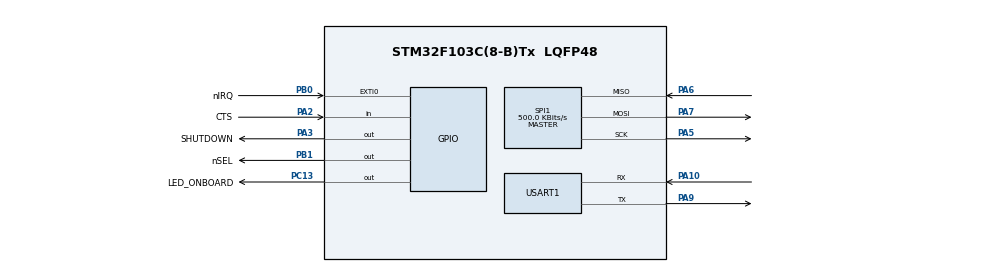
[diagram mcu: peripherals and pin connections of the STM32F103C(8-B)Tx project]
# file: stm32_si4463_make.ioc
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Mcu.Family=STM32F1
Mcu.Name=STM32F103C(8-B)Tx
Mcu.Package=LQFP48
NVIC.EXTI0_IRQn=true\:0\:0\:false\:true\:true\:1
NVIC.PriorityGroup=NVIC_PRIORITYGROUP_4
NVIC.USART1_IRQn=true\:0\:0\:false\:true\:true\:2
PA10.Mode=Asynchronous
PA10.Signal=USART1_RX
PA13.Mode=Serial_Wire
PA13.Signal=SYS_JTMS-SWDIO
PA14.Mode=Serial_Wire
PA14.Signal=SYS_JTCK-SWCLK
PA2.GPIO_Label=CTS
PA2.Signal=GPIO_Input
PA3.GPIO_Label=SHUTDOWN
PA3.Signal=GPIO_Output
PA5.Mode=Full_Duplex_Master
PA5.Signal=SPI1_SCK
PA6.Mode=Full_Duplex_Master
PA6.Signal=SPI1_MISO
PA7.Mode=Full_Duplex_Master
PA7.Signal=SPI1_MOSI
PA9.Mode=Asynchronous
PA9.Signal=USART1_TX
PB0.GPIO_Label=nIRQ
PB0.Signal=GPXTI0
PB1.GPIO_Label=nSEL
PB1.Signal=GPIO_Output
PC13-TAMPER-RTC.GPIO_Label=LED_ONBOARD
PC13-TAMPER-RTC.Signal=GPIO_Output
PC14-OSC32_IN.Mode=LSE-External-Oscillator
PC14-OSC32_IN.Signal=RCC_OSC32_IN
PC15-OSC32_OUT.Mode=LSE-External-Oscillator
PC15-OSC32_OUT.Signal=RCC_OSC32_OUT
PD0-OSC_IN.Mode=HSE-External-Oscillator
PD0-OSC_IN.Signal=RCC_OSC_IN
PD1-OSC_OUT.Mode=HSE-External-Oscillator
PD1-OSC_OUT.Signal=RCC_OSC_OUT
ProjectManager.HeapSize=0x200
ProjectManager.StackSize=0x400
ProjectManager.TargetToolchain=Makefile
RCC.APB1Freq_Value=8000000
RCC.APB2Freq_Value=8000000
SPI1.BaudRatePrescaler=SPI_BAUDRATEPRESCALER_16
SPI1.CalculateBaudRate=500.0 KBits/s
SPI1.Direction=SPI_DIRECTION_2LINES
SPI1.Mode=SPI_MODE_MASTER
SPI1.VirtualType=VM_MASTER
USART1.VirtualMode=VM_ASYNC
board=stm32_si4463_make

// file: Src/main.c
/**
  ******************************************************************************
  * File Name          : main.c
  * Description        : Main program body
  ******************************************************************************
  ** This notice applies to any and all portions of this file
  * that are not between comment pairs USER CODE BEGIN and
  * USER CODE END. Other portions of this file, whether
  * inserted by the user or by software development tools
  * are owned by their respective copyright owners.
  *
  * COPYRIGHT(c) 2017 STMicroelectronics
  *
  * Redistribution and use in source and binary forms, with or without modification,
  * are permitted provided that the following conditions are met:
  *   1. Redistributions of source code must retain the above copyright notice,
  *      this list of conditions and the following disclaimer.
  *   2. Redistributions in binary form must reproduce the above copyright notice,
  *      this list of conditions and the following disclaimer in the documentation
  *      and/or other materials provided with the distribution.
  *   3. Neither the name of STMicroelectronics nor the names of its contributors
  *      may be used to endorse or promote products derived from this software
  *      without specific prior written permission.
  *
  * THIS SOFTWARE IS PROVIDED BY THE COPYRIGHT HOLDERS AND CONTRIBUTORS "AS IS"
  * AND ANY EXPRESS OR IMPLIED WARRANTIES, INCLUDING, BUT NOT LIMITED TO, THE
  * IMPLIED WARRANTIES OF MERCHANTABILITY AND FITNESS FOR A PARTICULAR PURPOSE ARE
  * DISCLAIMED. IN NO EVENT SHALL THE COPYRIGHT HOLDER OR CONTRIBUTORS BE LIABLE
  * FOR ANY DIRECT, INDIRECT, INCIDENTAL, SPECIAL, EXEMPLARY, OR CONSEQUENTIAL
  * DAMAGES (INCLUDING, BUT NOT LIMITED TO, PROCUREMENT OF SUBSTITUTE GOODS OR
  * SERVICES; LOSS OF USE, DATA, OR PROFITS; OR BUSINESS INTERRUPTION) HOWEVER
  * CAUSED AND ON ANY THEORY OF LIABILITY, WHETHER IN CONTRACT, STRICT LIABILITY,
  * OR TORT (INCLUDING NEGLIGENCE OR OTHERWISE) ARISING IN ANY WAY OUT OF THE USE
  * OF THIS SOFTWARE, EVEN IF ADVISED OF THE POSSIBILITY OF SUCH DAMAGE.
  *
  ******************************************************************************
  */
#include "main.h"
#include "stm32f1xx_hal.h"

/* USER CODE BEGIN Includes */
#include "si4463.h"
#include <stdlib.h>

/* USER CODE END Includes */

SPI_HandleTypeDef hspi1;

UART_HandleTypeDef huart1;

/* USER CODE BEGIN PV */
/* Private variables ---------------------------------------------------------*/
si4463_t si4463;
uint8_t incomingBuffer[RADIO_CONFIGURATION_DATA_RADIO_PACKET_LENGTH];
uint8_t outgoingBuffer[RADIO_CONFIGURATION_DATA_RADIO_PACKET_LENGTH];

/* USER CODE END PV */

void SystemClock_Config(void);
static void MX_GPIO_Init(void);
static void MX_SPI1_Init(void);
static void MX_USART1_UART_Init(void);
static void MX_NVIC_Init(void);

/* USER CODE BEGIN PFP */
/* Private function prototypes -----------------------------------------------*/
bool SI4463_IsCTS(void);
void SI4463_WriteRead(uint8_t * pTxData, uint8_t * pRxData, uint16_t sizeTxData);
void SI4463_SetShutdown(void);
void SI4463_ClearShutdown(void);
void SI4463_Select(void);
void SI4463_Deselect(void);

/* USER CODE END PFP */

int main(void)
{

  /* MCU Configuration----------------------------------------------------------*/

  /* Reset of all peripherals, Initializes the Flash interface and the Systick. */
  HAL_Init();

  /* Configure the system clock */
  SystemClock_Config();

  /* Initialize all configured peripherals */
  MX_GPIO_Init();
  MX_SPI1_Init();
  MX_USART1_UART_Init();

  /* Initialize interrupts */
  MX_NVIC_Init();

  /* USER CODE BEGIN 2 */

#ifdef DEMOFEST
  /* Debug message on uart */
  HAL_UART_Transmit(&huart1, "START\n", 6, 10);
#endif

  /* Assign functions */
  si4463.IsCTS = SI4463_IsCTS;
  si4463.WriteRead = SI4463_WriteRead;
  si4463.Select = SI4463_Select;
  si4463.Deselect = SI4463_Deselect;
  si4463.SetShutdown = SI4463_SetShutdown;
  si4463.ClearShutdown = SI4463_ClearShutdown;
  si4463.DelayMs = HAL_Delay;

  /* Disable interrupt pin for init Si4463 */
  HAL_NVIC_DisableIRQ(EXTI0_IRQn);

  /* Init Si4463 with structure */
  SI4463_Init(&si4463);

  /* Clear RX FIFO before starting RX packets */
  SI4463_ClearRxFifo(&si4463);
  /* Start RX mode.
   * SI4463_StartRx() put a chip in non-armed mode in cases:
   * - successfully receive a packet;
   * - invoked RX_TIMEOUT;
   * - invalid receive.
   * For receiveing next packet you have to invoke SI4463_StartRx() again!*/
  SI4463_StartRx(&si4463, false, false, false);

#ifdef DEMOFEST
  /* Debug message on UART */
  HAL_UART_Transmit(&huart1, "INIT\n", 5, 10);
#endif

  /* Enable interrupt pin and */
  HAL_NVIC_EnableIRQ(EXTI0_IRQn);
  /* Clear interrupts after enabling interrupt pin.
   * Without it may be situation when interrupt is asserted but pin not cleared.*/
  SI4463_ClearInterrupts(&si4463);

  /* USER CODE END 2 */

  /* Infinite loop */
  while (1)
  {

  /* USER CODE BEGIN 3 */
	  /* Send test packet */
	  outgoingBuffer[0] = rand() & 0xFF;
	  outgoingBuffer[1] = rand() & 0xFF;
	  outgoingBuffer[2] = rand() & 0xFF;
	  outgoingBuffer[3] = rand() & 0xFF;
	  outgoingBuffer[4] = rand() & 0xFF;
	  outgoingBuffer[5] = rand() & 0xFF;
	  outgoingBuffer[6] = rand() & 0xFF;
	  SI4463_Transmit(&si4463, outgoingBuffer, RADIO_CONFIGURATION_DATA_RADIO_PACKET_LENGTH);

	  uint32_t newDelay = 500 + ((rand() & 0xF) * 100);
	  HAL_Delay(newDelay);
	  /* End of send of test packet */
  }
  /* USER CODE END 3 */

}

/** System Clock Configuration
*/
void SystemClock_Config(void)
{

  RCC_OscInitTypeDef RCC_OscInitStruct;
  RCC_ClkInitTypeDef RCC_ClkInitStruct;

    /**Initializes the CPU, AHB and APB busses clocks
    */
  RCC_OscInitStruct.OscillatorType = RCC_OSCILLATORTYPE_HSI;
  RCC_OscInitStruct.HSIState = RCC_HSI_ON;
  RCC_OscInitStruct.HSICalibrationValue = 16;
  RCC_OscInitStruct.PLL.PLLState = RCC_PLL_NONE;
  if (HAL_RCC_OscConfig(&RCC_OscInitStruct) != HAL_OK)
  {
    _Error_Handler(__FILE__, __LINE__);
  }

    /**Initializes the CPU, AHB and APB busses clocks
    */
  RCC_ClkInitStruct.ClockType = RCC_CLOCKTYPE_HCLK|RCC_CLOCKTYPE_SYSCLK
                              |RCC_CLOCKTYPE_PCLK1|RCC_CLOCKTYPE_PCLK2;
  RCC_ClkInitStruct.SYSCLKSource = RCC_SYSCLKSOURCE_HSI;
  RCC_ClkInitStruct.AHBCLKDivider = RCC_SYSCLK_DIV1;
  RCC_ClkInitStruct.APB1CLKDivider = RCC_HCLK_DIV1;
  RCC_ClkInitStruct.APB2CLKDivider = RCC_HCLK_DIV1;

  if (HAL_RCC_ClockConfig(&RCC_ClkInitStruct, FLASH_LATENCY_0) != HAL_OK)
  {
    _Error_Handler(__FILE__, __LINE__);
  }

    /**Configure the Systick interrupt time
    */
  HAL_SYSTICK_Config(HAL_RCC_GetHCLKFreq()/1000);

    /**Configure the Systick
    */
  HAL_SYSTICK_CLKSourceConfig(SYSTICK_CLKSOURCE_HCLK);

  /* SysTick_IRQn interrupt configuration */
  HAL_NVIC_SetPriority(SysTick_IRQn, 0, 0);
}

/** NVIC Configuration
*/
static void MX_NVIC_Init(void)
{
  /* EXTI0_IRQn interrupt configuration */
  HAL_NVIC_SetPriority(EXTI0_IRQn, 0, 0);
  HAL_NVIC_EnableIRQ(EXTI0_IRQn);
  /* USART1_IRQn interrupt configuration */
  HAL_NVIC_SetPriority(USART1_IRQn, 0, 0);
  HAL_NVIC_EnableIRQ(USART1_IRQn);
}

/* SPI1 init function */
static void MX_SPI1_Init(void)
{

  hspi1.Instance = SPI1;
  hspi1.Init.Mode = SPI_MODE_MASTER;
  hspi1.Init.Direction = SPI_DIRECTION_2LINES;
  hspi1.Init.DataSize = SPI_DATASIZE_8BIT;
  hspi1.Init.CLKPolarity = SPI_POLARITY_LOW;
  hspi1.Init.CLKPhase = SPI_PHASE_1EDGE;
  hspi1.Init.NSS = SPI_NSS_SOFT;
  hspi1.Init.BaudRatePrescaler = SPI_BAUDRATEPRESCALER_16;
  hspi1.Init.FirstBit = SPI_FIRSTBIT_MSB;
  hspi1.Init.TIMode = SPI_TIMODE_DISABLE;
  hspi1.Init.CRCCalculation = SPI_CRCCALCULATION_DISABLE;
  hspi1.Init.CRCPolynomial = 10;
  if (HAL_SPI_Init(&hspi1) != HAL_OK)
  {
    _Error_Handler(__FILE__, __LINE__);
  }

}

/* USART1 init function */
static void MX_USART1_UART_Init(void)
{

  huart1.Instance = USART1;
  huart1.Init.BaudRate = 115200;
  huart1.Init.WordLength = UART_WORDLENGTH_8B;
  huart1.Init.StopBits = UART_STOPBITS_1;
  huart1.Init.Parity = UART_PARITY_NONE;
  huart1.Init.Mode = UART_MODE_TX_RX;
  huart1.Init.HwFlowCtl = UART_HWCONTROL_NONE;
  huart1.Init.OverSampling = UART_OVERSAMPLING_16;
  if (HAL_UART_Init(&huart1) != HAL_OK)
  {
    _Error_Handler(__FILE__, __LINE__);
  }

}

/** Configure pins as
        * Analog
        * Input
        * Output
        * EVENT_OUT
        * EXTI
*/
static void MX_GPIO_Init(void)
{

  GPIO_InitTypeDef GPIO_InitStruct;

  /* GPIO Ports Clock Enable */
  __HAL_RCC_GPIOC_CLK_ENABLE();
  __HAL_RCC_GPIOD_CLK_ENABLE();
  __HAL_RCC_GPIOA_CLK_ENABLE();
  __HAL_RCC_GPIOB_CLK_ENABLE();

  /*Configure GPIO pin Output Level */
  HAL_GPIO_WritePin(LED_ONBOARD_GPIO_Port, LED_ONBOARD_Pin, GPIO_PIN_RESET);

  /*Configure GPIO pin Output Level */
  HAL_GPIO_WritePin(SHUTDOWN_GPIO_Port, SHUTDOWN_Pin, GPIO_PIN_RESET);

  /*Configure GPIO pin Output Level */
  HAL_GPIO_WritePin(nSEL_GPIO_Port, nSEL_Pin, GPIO_PIN_RESET);

  /*Configure GPIO pin : LED_ONBOARD_Pin */
  GPIO_InitStruct.Pin = LED_ONBOARD_Pin;
  GPIO_InitStruct.Mode = GPIO_MODE_OUTPUT_PP;
  GPIO_InitStruct.Speed = GPIO_SPEED_FREQ_LOW;
  HAL_GPIO_Init(LED_ONBOARD_GPIO_Port, &GPIO_InitStruct);

  /*Configure GPIO pin : CTS_Pin */
  GPIO_InitStruct.Pin = CTS_Pin;
  GPIO_InitStruct.Mode = GPIO_MODE_INPUT;
  GPIO_InitStruct.Pull = GPIO_NOPULL;
  HAL_GPIO_Init(CTS_GPIO_Port, &GPIO_InitStruct);

  /*Configure GPIO pin : SHUTDOWN_Pin */
  GPIO_InitStruct.Pin = SHUTDOWN_Pin;
  GPIO_InitStruct.Mode = GPIO_MODE_OUTPUT_PP;
  GPIO_InitStruct.Speed = GPIO_SPEED_FREQ_LOW;
  HAL_GPIO_Init(SHUTDOWN_GPIO_Port, &GPIO_InitStruct);

  /*Configure GPIO pin : nIRQ_Pin */
  GPIO_InitStruct.Pin = nIRQ_Pin;
  GPIO_InitStruct.Mode = GPIO_MODE_IT_FALLING;
  GPIO_InitStruct.Pull = GPIO_NOPULL;
  HAL_GPIO_Init(nIRQ_GPIO_Port, &GPIO_InitStruct);

  /*Configure GPIO pin : nSEL_Pin */
  GPIO_InitStruct.Pin = nSEL_Pin;
  GPIO_InitStruct.Mode = GPIO_MODE_OUTPUT_PP;
  GPIO_InitStruct.Speed = GPIO_SPEED_FREQ_LOW;
  HAL_GPIO_Init(nSEL_GPIO_Port, &GPIO_InitStruct);

}

/* USER CODE BEGIN 4 */

void HAL_GPIO_EXTI_Callback(uint16_t GPIO_Pin)
{
  /* Prevent unused argument(s) compilation warning */
  UNUSED(GPIO_Pin);

  /* Clear incoming buffer */
  memset(incomingBuffer, 0x00, RADIO_CONFIGURATION_DATA_RADIO_PACKET_LENGTH);

  /* Get interrupts and work with it */
  SI4463_GetInterrupts(&si4463);

  /* Handling PH interrupts */
  if (si4463.interrupts.filterMatch)
  {
	  /* Handling this interrupt here */
	  /* Following instruction only for add breakpoints. May be deleted */
	  si4463.interrupts.filterMatch = false;
  }
  if (si4463.interrupts.filterMiss)
  {
	  /* Handling this interrupt here */
	  /* Following instruction only for add breakpoints. May be deleted */
	  si4463.interrupts.filterMiss = false;
  }
  if (si4463.interrupts.packetSent)
  {
	  /* Handling this interrupt here */
	  /* Clear TX FIFO */
	  SI4463_ClearTxFifo(&si4463);
#ifdef DEMOFEST
	  HAL_UART_Transmit(&huart1, "OUT >", 5, 10);
	  HAL_UART_Transmit(&huart1, outgoingBuffer, RADIO_CONFIGURATION_DATA_RADIO_PACKET_LENGTH, 10);
	  HAL_UART_Transmit(&huart1, "\n", 1, 10);
#endif /* DEMOFEST */
	  /* Re-arm StartRX */
	  SI4463_StartRx(&si4463, false, false, false);

	  /*Toggle led for indication*/
	  HAL_GPIO_TogglePin(LED_ONBOARD_GPIO_Port, LED_ONBOARD_Pin);
	  /* Following instruction only for add breakpoints. May be deleted */
	  si4463.interrupts.packetSent = false;
  }
  if (si4463.interrupts.packetRx)
  {
	  /* Handling this interrupt here */
	  /* Get FIFO data */
	  SI4463_ReadRxFifo(&si4463, incomingBuffer, RADIO_CONFIGURATION_DATA_RADIO_PACKET_LENGTH);
	  /* Clear RX FIFO */
	  SI4463_ClearRxFifo(&si4463);
#ifdef DEMOFEST
	  HAL_UART_Transmit(&huart1, "IN >", 4, 10);
	  HAL_UART_Transmit(&huart1, incomingBuffer, RADIO_CONFIGURATION_DATA_RADIO_PACKET_LENGTH, 10);
	  HAL_UART_Transmit(&huart1, "\n", 1, 10);
#endif /* DEMOFEST */

	  /* Start RX again.
	   * It need because after successful receive a packet the chip change
	   * state to READY.
	   * There is re-armed mode for StartRx but it not correctly working */
	  SI4463_StartRx(&si4463, false, false, false);

	  /*Toggle led for indication*/
	  HAL_GPIO_TogglePin(LED_ONBOARD_GPIO_Port, LED_ONBOARD_Pin);

	  /* Following instruction only for add breakpoints. May be deleted */
	  si4463.interrupts.packetRx = false;
  }
  if (si4463.interrupts.crcError)
  {
	  /* Handling this interrupt here */

	  /* Following instruction only for add breakpoints. May be deleted */
	  si4463.interrupts.crcError = false;
  }
  if (si4463.interrupts.txFifoAlmostEmpty)
  {
	  /* Handling this interrupt here */

	  /* Following instruction only for add breakpoints. May be deleted */
	  si4463.interrupts.txFifoAlmostEmpty = false;
  }
  if (si4463.interrupts.rxFifoAlmostFull)
  {
	  /* Handling this interrupt here */

	  /* Following instruction only for add breakpoints. May be deleted */
	  si4463.interrupts.rxFifoAlmostFull = false;
  }

  /* Handling Modem interrupts */
  if (si4463.interrupts.postambleDetect)
  {
	  /* Handling this interrupt here */
	  /* Following instruction only for add breakpoints. May be deleted */
	  si4463.interrupts.postambleDetect = false;
  }
  if (si4463.interrupts.invalidSync)
  {
	  /* Handling this interrupt here */
	  /* Following instruction only for add breakpoints. May be deleted */
	  si4463.interrupts.invalidSync = false;
  }
  if (si4463.interrupts.rssiJump)
  {
	  /* Handling this interrupt here */
	  /* Following instruction only for add breakpoints. May be deleted */
	  si4463.interrupts.rssiJump = false;
  }
  if (si4463.interrupts.rssi)
  {
	  /* Handling this interrupt here */
	  /* Following instruction only for add breakpoints. May be deleted */
	  si4463.interrupts.rssi = false;
  }
  if (si4463.interrupts.invalidPreamble)
  {
	  /* Handling this interrupt here */
	  /* Following instruction only for add breakpoints. May be deleted */
	  si4463.interrupts.invalidPreamble = false;
  }
  if (si4463.interrupts.preambleDetect)
  {
	  /* Handling this interrupt here */
	  /* Following instruction only for add breakpoints. May be deleted */
	  si4463.interrupts.preambleDetect = false;
  }
  if (si4463.interrupts.syncDetect)
  {
	  /* Handling this interrupt here */
	  /* Following instruction only for add breakpoints. May be deleted */
	  si4463.interrupts.syncDetect = false;
  }

  /* Handling Chip interrupts */
  if (si4463.interrupts.cal)
  {
	  /* Handling this interrupt here */
	  SI4463_GetChipStatus(&si4463);
	  /* Following instruction only for add breakpoints. May be deleted */
	  si4463.interrupts.cal = false;
  }
  if (si4463.interrupts.fifoUnderflowOverflowError)
  {
	  /* Handling this interrupt here */
	  /* Clear RX FIFO */
	  SI4463_ClearRxFifo(&si4463);
	  /* Claer Chip Status errors if exists */
	  SI4463_GetChipStatus(&si4463);
	  /* Following instruction only for add breakpoints. May be deleted */
	  si4463.interrupts.fifoUnderflowOverflowError = false;
  }
  if (si4463.interrupts.stateChange)
  {
	  /* Handling this interrupt here */
	  SI4463_GetChipStatus(&si4463);
	  /* Following instruction only for add breakpoints. May be deleted */
	  si4463.interrupts.stateChange = false;
  }
  if (si4463.interrupts.cmdError)
  {
	  /* Handling this interrupt here */
	  SI4463_GetChipStatus(&si4463);
	  /* Following instruction only for add breakpoints. May be deleted */
	  si4463.interrupts.stateChange = false;
  }
  if (si4463.interrupts.chipReady)
  {
	  /* Handling this interrupt here */
	  SI4463_GetChipStatus(&si4463);
	  /* Following instruction only for add breakpoints. May be deleted */
	  si4463.interrupts.chipReady = false;
  }
  if (si4463.interrupts.lowBatt)
  {
	  /* Handling this interrupt here */
	  SI4463_GetChipStatus(&si4463);
	  /* Following instruction only for add breakpoints. May be deleted */
	  si4463.interrupts.lowBatt = false;
  }
  if (si4463.interrupts.wut)
  {
	  /* Handling this interrupt here */
	  SI4463_GetChipStatus(&si4463);
	  /* Following instruction only for add breakpoints. May be deleted */
	  si4463.interrupts.wut = false;
  }

  /* Clear All interrupts before exit */
  SI4463_ClearAllInterrupts(&si4463);
}

void HAL_UART_RxCpltCallback(UART_HandleTypeDef *huart)
{
  /* Prevent unused argument(s) compilation warning */
  UNUSED(huart);
}

bool SI4463_IsCTS(void)
{
	if(HAL_GPIO_ReadPin(CTS_GPIO_Port, CTS_Pin) == GPIO_PIN_SET)
	{
		return true;
	}
	else
	{
		return false;
	}
}

void SI4463_WriteRead(uint8_t * pTxData, uint8_t * pRxData, uint16_t sizeTxData)
{
	HAL_SPI_TransmitReceive(&hspi1, pTxData, pRxData, sizeTxData, 100);
}

void SI4463_SetShutdown(void)
{
	HAL_GPIO_WritePin(SHUTDOWN_GPIO_Port, SHUTDOWN_Pin, GPIO_PIN_SET);
}

void SI4463_ClearShutdown(void)
{
	HAL_GPIO_WritePin(SHUTDOWN_GPIO_Port, SHUTDOWN_Pin, GPIO_PIN_RESET);
}

void SI4463_Select(void)
{
	HAL_GPIO_WritePin(nSEL_GPIO_Port, nSEL_Pin, GPIO_PIN_RESET);
}

void SI4463_Deselect(void)
{
	HAL_GPIO_WritePin(nSEL_GPIO_Port, nSEL_Pin, GPIO_PIN_SET);
}

/* USER CODE END 4 */

void _Error_Handler(char * file, int line)
{
  while(1)
  {
  }
}

/************************ (C) COPYRIGHT STMicroelectronics *****END OF FILE****/
